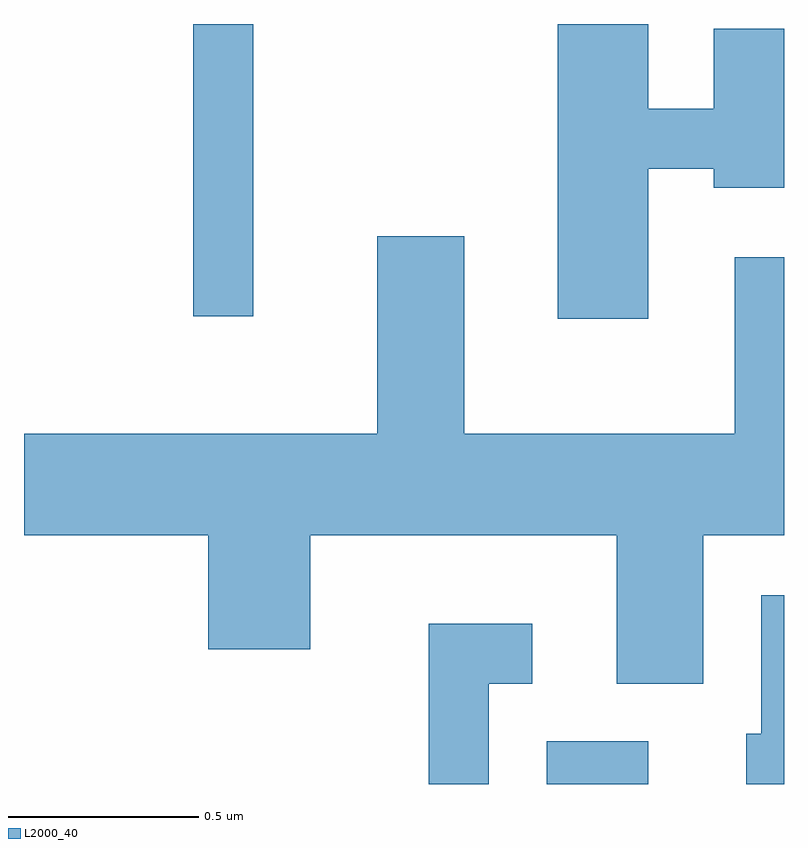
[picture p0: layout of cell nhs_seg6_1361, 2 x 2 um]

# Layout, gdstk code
import gdstk
lib = gdstk.Library(unit=1e-6, precision=1e-09)
def R(c, l, rs):  # rectangles x0, y0, x1, y1
    for r in rs: c.add(gdstk.rectangle(r[:2], r[2:], *l))
def P(c, l, *ps):  # polygons
    for p in ps: c.add(gdstk.Polygon(p, *l))
L2000_40 = (2000, 40)

nhs_seg6_1361 = lib.new_cell('nhs_seg6_1361')
R(nhs_seg6_1361, L2000_40, [(195.986,1658.162,196.254,1658.274), (195.056,1659.393,195.214,1660.162)])
P(nhs_seg6_1361, L2000_40, [(196.254,1659.781),(196.426,1659.781),(196.426,1659.731),(196.611,1659.731),(196.611,1660.149),(196.426,1660.149),(196.426,1659.939),(196.254,1659.939),(196.254,1660.162),(196.016,1660.162),(196.016,1659.386),(196.254,1659.386)],
  [(196.399,1658.816),(196.611,1658.816),(196.611,1659.548),(196.481,1659.548),(196.481,1659.084),(195.769,1659.084),(195.769,1659.604),(195.541,1659.604),(195.541,1659.084),(194.611,1659.084),(194.611,1658.816),(195.096,1658.816),(195.096,1658.516),(195.364,1658.516),(195.364,1658.816),(196.171,1658.816),(196.171,1658.426),(196.399,1658.426)],
  [(196.611,1658.659),(196.551,1658.659),(196.551,1658.294),(196.511,1658.294),(196.511,1658.162),(196.611,1658.162)],
  [(195.834,1658.426),(195.948,1658.426),(195.948,1658.584),(195.676,1658.584),(195.676,1658.162),(195.834,1658.162)])

lib.write_gds('nhs_seg6_1361.gds')
